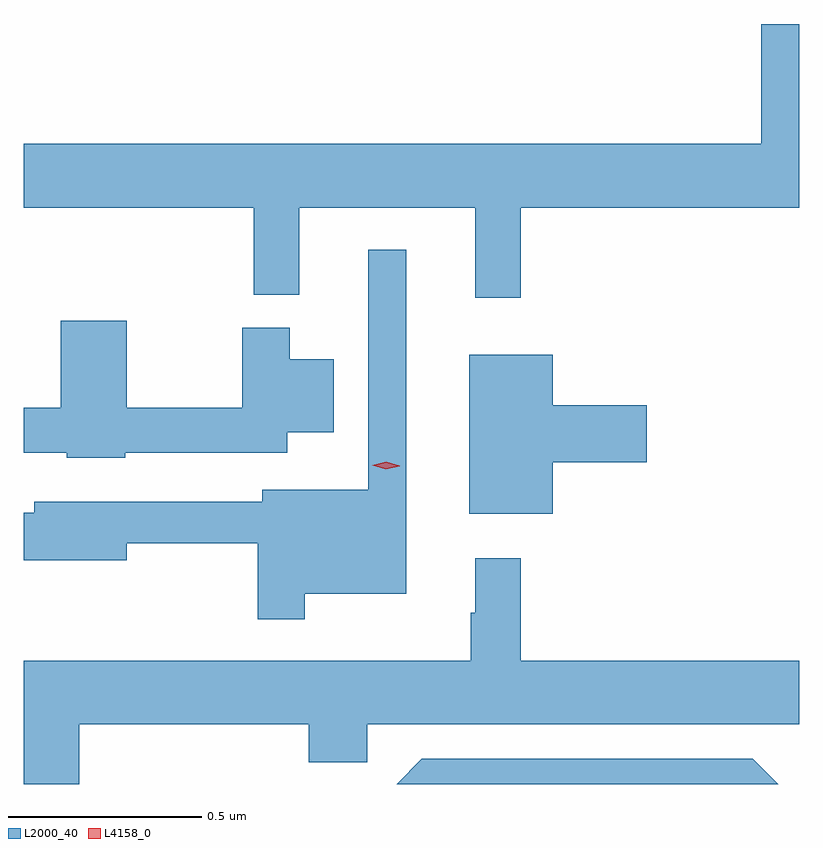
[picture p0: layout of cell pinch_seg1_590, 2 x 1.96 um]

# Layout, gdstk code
import gdstk
lib = gdstk.Library(unit=1e-6, precision=1e-09)
def P(c, l, *ps):  # polygons
    for p in ps: c.add(gdstk.Polygon(p, *l))
L2000_40 = (2000, 40)
L4158_0 = (4158, 0)

pinch_seg1_590 = lib.new_cell('pinch_seg1_590')
P(pinch_seg1_590, L2000_40, [(1055.678,515.768),(1056.271,515.768),(1056.271,515.543),(1056.389,515.543),(1056.389,515.768),(1056.842,515.768),(1056.842,515.535),(1056.959,515.535),(1056.959,515.768),(1057.678,515.768),(1057.678,516.241),(1057.58,516.241),(1057.58,515.932),(1055.678,515.932)],
  [(1056.403,514.772),(1056.664,514.772),(1056.664,515.659),(1056.567,515.659),(1056.567,515.041),(1056.293,515.041),(1056.293,515.01),(1055.705,515.01),(1055.705,514.981),(1055.678,514.981),(1055.678,514.859),(1055.944,514.859),(1055.944,514.902),(1056.282,514.902),(1056.282,514.707),(1056.403,514.707)],
  [(1055.94,515.136),(1056.358,515.136),(1056.358,515.189),(1056.478,515.189),(1056.478,515.377),(1056.364,515.377),(1056.364,515.458),(1056.242,515.458),(1056.242,515.252),(1055.944,515.252),(1055.944,515.476),(1055.774,515.476),(1055.774,515.252),(1055.678,515.252),(1055.678,515.136),(1055.79,515.136),(1055.79,515.123),(1055.94,515.123)],
  [(1057.042,515.111),(1057.285,515.111),(1057.285,515.258),(1057.042,515.258),(1057.042,515.389),(1056.827,515.389),(1056.827,514.979),(1057.042,514.979)],
  [(1055.822,514.436),(1056.413,514.436),(1056.413,514.338),(1056.564,514.338),(1056.564,514.436),(1057.678,514.436),(1057.678,514.6),(1056.959,514.6),(1056.959,514.864),(1056.842,514.864),(1056.842,514.724),(1056.831,514.724),(1056.831,514.6),(1055.678,514.6),(1055.678,514.282),(1055.822,514.282)],
  [(1057.558,514.347),(1056.705,514.347),(1056.64,514.282),(1057.623,514.282)])
P(pinch_seg1_590, L4158_0, [(1056.612,515.093),(1056.577,515.104),(1056.577,515.104),(1056.577,515.104),(1056.613,515.113),(1056.648,515.102),(1056.648,515.102),(1056.648,515.101)])

lib.write_gds('pinch_seg1_590.gds')
